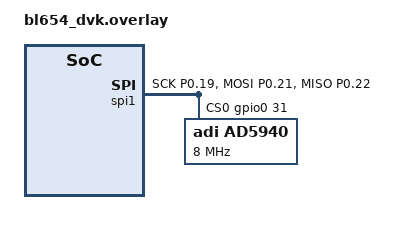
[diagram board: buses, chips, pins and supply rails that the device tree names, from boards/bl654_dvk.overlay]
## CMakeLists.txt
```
# SPDX-License-Identifier: Apache-2.0

cmake_minimum_required(VERSION 3.20.0)
find_package(Zephyr REQUIRED HINTS $ENV{ZEPHYR_BASE})
project(amperometric_polling_BL654)

target_sources(app PRIVATE src/ad5940_lib/ad5940.c)
target_sources(app PRIVATE src/BL654Port.c)
target_sources(app PRIVATE src/main.c)
target_sources(app PRIVATE src/Amperometric.c)
```

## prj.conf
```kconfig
CONFIG_GPIO=y
CONFIG_SPI=y

CONFIG_BT=y
CONFIG_BT_DEBUG_LOG=y
CONFIG_BT_SMP=y
CONFIG_BT_SIGNING=y
CONFIG_BT_PERIPHERAL=y
CONFIG_BT_DIS=y
CONFIG_BT_ATT_PREPARE_COUNT=5
CONFIG_BT_BAS=y
CONFIG_BT_HRS=y
CONFIG_BT_IAS=y
CONFIG_BT_PRIVACY=y
CONFIG_BT_DEVICE_NAME="Zephyr Peripheral Sample Long Name"
CONFIG_BT_DEVICE_APPEARANCE=833
CONFIG_BT_DEVICE_NAME_DYNAMIC=y
CONFIG_BT_DEVICE_NAME_MAX=65

CONFIG_BT_KEYS_OVERWRITE_OLDEST=y
CONFIG_BT_SETTINGS=y
CONFIG_FLASH=y
CONFIG_FLASH_PAGE_LAYOUT=y
CONFIG_FLASH_MAP=y
CONFIG_NVS=y
CONFIG_SETTINGS=y
```

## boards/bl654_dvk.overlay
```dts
&i2c0 
{
	compatible = "nordic,nrf-twi";
	status = "disabled";
	pinctrl-0 = <&i2c0_default>;
	pinctrl-1 = <&i2c0_sleep>;
	pinctrl-names = "default", "sleep";
	dac0: mcp4725@60 {
		/* MCP4725 not populated at factory */
		compatible = "microchip,mcp4725";
		reg = <0x60>;
		#io-channel-cells = <1>;
		status = "disabled";
	};
};

&spi0 
{
	compatible = "nordic,nrf-spi";
	/* Cannot be used together with i2c0. */
	status = "disabled";
	cs-gpios = <&gpio1 12 GPIO_ACTIVE_LOW>;
	pinctrl-0 = <&spi0_default>;
	pinctrl-1 = <&spi0_sleep>;
	pinctrl-names = "default", "sleep";
};

/* 
&spi1 {
	compatible = "nordic,nrf-spi";
	status = "disabled";
	cs-gpios = <&gpio0 17 GPIO_ACTIVE_LOW>;
	pinctrl-0 = <&spi1_default>;
	pinctrl-1 = <&spi1_sleep>;
	pinctrl-names = "default", "sleep";
	mx25r6435f@0 {
		compatible = "jedec,spi-nor";
		reg = <0>;
		spi-max-frequency = <80000000>;
		jedec-id = [c2 28 17];
		size = <67108864>;
		wp-gpios = <&gpio0 22 0>;
		hold-gpios = <&gpio0 23 0>;
	};
};
*/

&spi1
{
   /delete-node/ mx25r6435f@0;

   status = "okay";
   cs-gpios = <&gpio0 31 GPIO_ACTIVE_HIGH>;
   pinctrl-0 = <&spi1_default>;
   pinctrl-1 = <&spi1_sleep>;
   pinctrl-names = "default", "sleep";
   ad5940: ad5940@0 
   {
		compatible = "adi,ad5940";
		reg = <0>;
		spi-max-frequency = <8000000>;
		label = "ad5940";
	};
 };

&pinctrl {
	spi1_default: spi1_default {
			group1 {
					psels = <NRF_PSEL(SPIM_SCK, 0, 19)>,
							<NRF_PSEL(SPIM_MOSI, 0, 21)>,
							<NRF_PSEL(SPIM_MISO, 0, 22)>;
			};
	};
	spi1_sleep: spi1_sleep {
			group1 {
					psels = <NRF_PSEL(SPIM_SCK, 0, 19)>,
							<NRF_PSEL(SPIM_MOSI, 0, 21)>,
							<NRF_PSEL(SPIM_MISO, 0, 22)>;
					low-power-enable;
			};
	};
};
```

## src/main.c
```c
#include <stdio.h>
#include <drivers/gpio.h>
#include <drivers/spi.h>
#include "ad5940_lib/ad5940.h"

#include <zephyr/types.h>
#include <stddef.h>
#include <string.h>
#include <errno.h>
#include <zephyr/sys/printk.h>
#include <zephyr/sys/byteorder.h>
#include <zephyr/zephyr.h>
#include "Amperometric.h"
#include <zephyr/settings/settings.h>

#define APPBUFF_SIZE 100
uint32_t AppBuff[APPBUFF_SIZE];
float LFOSCFreq;

// define device tree node for the "led0" alias
#define LED0_NODE DT_ALIAS(led0)

// create struct of the led properties 
static const struct gpio_dt_spec led = GPIO_DT_SPEC_GET(LED0_NODE, gpios);

#define ADCPGA_GAIN_SEL ADCPGA_1P5      // constant value = 1 (AD5941 PGA for ADC is 1.5)

// PGA Calibration function  
static void AD5940_PGA_Calibration(void)
{
  AD5940Err err;
  ADCPGACal_Type pgacal;
  pgacal.AdcClkFreq = 16e6;
  pgacal.ADCSinc2Osr = ADCSINC2OSR_178;
  pgacal.ADCSinc3Osr = ADCSINC3OSR_4;
  pgacal.SysClkFreq = 16e6;
  pgacal.TimeOut10us = 1000;
  pgacal.VRef1p11 = 1.11f;
  pgacal.VRef1p82 = 1.82f;
  pgacal.PGACalType = PGACALTYPE_OFFSETGAIN;
  pgacal.ADCPga = ADCPGA_GAIN_SEL;
  err = AD5940_ADCPGACal(&pgacal);
  if(err != AD5940ERR_OK)
  {
    printf("AD5940 PGA calibration failed.\n\r");
  }
  else 
  {
    printf("AD5940 PGA calibration Success.\n\r");
  }
}//end function 

///////////////////////////////////////////////// Basic AD5940 configuration
static int32_t AD5940PlatformCfg(void)
{
    CLKCfg_Type clk_cfg;
    FIFOCfg_Type fifo_cfg;
    AGPIOCfg_Type gpio_cfg;

    // SEQCfg_Type seq_cfg;

    LFOSCMeasure_Type LfoscMeasure;

    // Apply hardware reset
    AD5940_HWReset();

    // Apply platform configuration sequence
    AD5940_Initialize();

    ////////////////////////////////////// Step1. Configure the clock
    clk_cfg.HFOSCEn = bTRUE;
    clk_cfg.HFXTALEn = bFALSE;
    clk_cfg.LFOSCEn = bTRUE;
    clk_cfg.HfOSC32MHzMode = bFALSE;
    clk_cfg.SysClkSrc = SYSCLKSRC_HFOSC;
    clk_cfg.SysClkDiv = SYSCLKDIV_1;
    clk_cfg.ADCCLkSrc = ADCCLKSRC_HFOSC;
    clk_cfg.ADCClkDiv = ADCCLKDIV_1;
    AD5940_CLKCfg(&clk_cfg);

    /////////////////////////////////////// Step2. Configure FIFO and Sequencer
    fifo_cfg.FIFOEn = bFALSE;
    fifo_cfg.FIFOMode = FIFOMODE_FIFO;
    fifo_cfg.FIFOSize = FIFOSIZE_4KB;       // 4kB for FIFO, The rest 2kB for sequencer
    fifo_cfg.FIFOSrc = FIFOSRC_DFT;
    fifo_cfg.FIFOThresh = 4;
    AD5940_FIFOCfg(&fifo_cfg);              // Disable to reset FIFO
    fifo_cfg.FIFOEn = bTRUE;
    AD5940_FIFOCfg(&fifo_cfg);

    ////////////////////////////////////////// Configure the sequencer and stop it
    /*
    seq_cfg.SeqMemSize = SEQMEMSIZE_2KB;
    seq_cfg.SeqBreakEn = bFALSE;
    seq_cfg.SeqIgnoreEn = bFALSE;
    seq_cfg.SeqCntCRCClr = bTRUE;
    seq_cfg.SeqEnable = bFALSE;
    seq_cfg.SeqWrTimer = 0;
    AD5940_SEQCfg(&seq_cfg);
    */

    /////////////////////////////////////////// Step3. Interrupt controller
    AD5940_INTCCfg(AFEINTC_1, AFEINTSRC_ALLINT, bTRUE);           /* Enable all interrupt in Interrupt Controller 1, so we can check INTC flags */
    AD5940_INTCCfg(AFEINTC_0, AFEINTSRC_DATAFIFOTHRESH, bTRUE);   /* Interrupt Controller 0 will control GP0 to generate interrupt to MCU */
    AD5940_INTCClrFlag(AFEINTSRC_ALLINT);

    /////////////////////////////////////////// Step4: Reconfigure GPIO
    gpio_cfg.FuncSet = GP6_SYNC|GP5_SYNC|GP4_SYNC|GP2_SYNC|GP1_SLEEP|GP0_INT;
    gpio_cfg.InputEnSet = 0;
    gpio_cfg.OutputEnSet = AGPIO_Pin0|AGPIO_Pin1|AGPIO_Pin4|AGPIO_Pin5|AGPIO_Pin6|AGPIO_Pin2;
    gpio_cfg.OutVal = 0;
    gpio_cfg.PullEnSet = 0;
    AD5940_AGPIOCfg(&gpio_cfg);

    // AD5940_SleepKeyCtrlS(SLPKEY_UNLOCK);          // Allow AFE to enter sleep mode

    /* Measure LFOSC frequency */
    LfoscMeasure.CalDuration = 1000.0;            // 1000 ms used for calibration
    LfoscMeasure.CalSeqAddr = 0;
    LfoscMeasure.SystemClkFreq = 16000000.0f;     // 16 MHz in this firmware
    AD5940_LFOSCMeasure(&LfoscMeasure, &LFOSCFreq);

    return 0;
}//end

//Change the application parameters here if you want to change it to a non-default value
void AD5940AMPStructInit(void)
{
  AppAMPCfg_Type *pAMPCfg;
  AppAMPGetCfg(&pAMPCfg);
  pAMPCfg->WuptClkFreq = LFOSCFreq;

  // Configure general parameters
  pAMPCfg->SeqStartAddr = 0;
  pAMPCfg->MaxSeqLen = 100;                // @todo add checker in function

  pAMPCfg->RcalVal = 200.0;
  // pAMPCfg->NumOfData = -1;                  // Never stop until you stop it manually by AppAMPCtrl() function
  pAMPCfg->NumOfData = 1;                  // Never stop until you stop it manually by AppAMPCtrl() function

  //Configure the measurement parameters
  pAMPCfg->AmpODR = 1;                      // set the time between samples in seconds

  pAMPCfg->FifoThresh = 1;                  // the number of measurements aquired before alerting the host MCU

  pAMPCfg->SensorBias = 200;                // Sensor bias voltage between reference and sense electrodes

  pAMPCfg->LptiaRtiaSel = LPTIARTIA_1K;

  pAMPCfg->LpTiaRl = LPTIARLOAD_10R;

  pAMPCfg->Vzero = 1100;                    // Vzero voltage. The voltage on the sense electrode. Unit is mV

  pAMPCfg->ADCRefVolt = 1.82;               // Measure the voltage on the Vref_1V8 pin (1.82 V)

}//end function

// 1000 msec = 1 sec (used to control the LED blinking frequency)
#define SLEEP_TIME_MS   1000

///////////////////////////////////////////////////////// display the result in UART
int32_t AMPShowResult(float *pData, uint32_t DataCount)
{
    float x = pData[0];

    // float bias_current = 39.5;
    // x = x - bias_current;

    // process the measured differential voltage 
    int x_int = (int) x;		// integer part 
    int x_frac = (int) ((x - x_int) * 10000);
	// print to serial terminal 
	// printf ("Int = %d, Decimal = %d \n\r", diff_volt_int, diff_volt_dec_int);
    printf("Current: %d.%04d uA\n\r", x_int, x_frac);

    return 0;
}//end

////////////////////////////////////////////////// MAIN ////////////////////////////////////// 
void main(void)
{
    // define return variable 
	int ret;

    // check if led device is ready 
	if (!device_is_ready(led.port)) { return; }

    // set the led to active-high output 
	ret = gpio_pin_configure_dt(&led, GPIO_OUTPUT_ACTIVE);
	if (ret < 0) { return; }

    // toggle the led 5 times before starting the program 
	int led_counter = 0;	
    while (led_counter < 5) 
	{ 
		gpio_pin_toggle_dt(&led);
		k_msleep(SLEEP_TIME_MS);
		led_counter = led_counter + 1;
	}//end while

      // setup the MCU resources for connecting with AD5940
    AD5940_MCUResourceInit(0);
    AD5940_Delay10us(50000);        // delay 500 m

    // call platform configuration
    AD5940PlatformCfg();
    AD5940_Delay10us(50000);    // delay 500 m

    AD5940AMPStructInit();      // Configure your parameters in this function
    AD5940_Delay10us(50000);    // delay 500 m

    // setup AMP application (provide a buffer, which is used to store sequencer commands)
    AppAMPInit(AppBuff, APPBUFF_SIZE);
    AD5940_Delay10us(50000);    // delay 500 m

    // control AMP measurement to start (s)
    // AppAMPCtrl(AMPCTRL_START, 0);
    // AD5940_Delay10us(50000);    // delay 500 m

    for (;;)
    {
        // start the sequencer
        AD5940_SEQMmrTrig(SEQID_0);
        AD5940_Delay10us(50000);    // delay 500 m

        while (1)
        {
            // poll the INTCFLAG register to wait for Data FIFO threshold interrupt.
            if(AD5940_INTCTestFlag(AFEINTC_0, AFEINTSRC_DATAFIFOTHRESH) == bTRUE)
            {
                break;
            }
            else
            {
                // do nothing
                AD5940_Delay10us(100000);    // delay 1 second
            }
        }//end while

        printf("Data found: \n\r");

        /// display data
        uint32_t temp = APPBUFF_SIZE;
        AppAMPISR(AppBuff, &temp);
        AMPShowResult((float*)AppBuff, temp);

    } //end for

    /*

    // setup the MCU resources for connecting to AD5940 (initializae the MCU - defined in BL654Port.c) 
    AD5940_MCUResourceInit(0);

	// ADC measurement of AD5940/41
    ADCBaseCfg_Type adc_base;
    ADCFilterCfg_Type adc_filter;
  
    // Use hardware reset (RESET pin is set and reset)
    AD5940_HWReset();

    // initialize the AD5941 device by writing to its registers
    AD5940_Initialize();
  
	// PGA calibration function 
    AD5940_PGA_Calibration();
	
    // configure AFE power mode and bandwidth
    AD5940_AFEPwrBW(AFEPWR_LP, AFEBW_250KHZ);
  
    // initialize the ADC basic function (measurement is done based on DAC 1.82 V reference)
    AD5940_AFECtrlS(AFECTRL_DACREFPWR|AFECTRL_HSDACPWR, bTRUE); 

	// set the differential inputs for the ADC 
	adc_base.ADCMuxP = ADCMUXP_VREF1P8DAC; 		    // 1.8 V
    // adc_base.ADCMuxP = ADCMUXP_VREF2P5;          // positive input set to 1.25 V
    adc_base.ADCMuxN = ADCMUXN_VSET1P1;    			// negative input set to 1.1 V
	// select the programmable gain defined  
    adc_base.ADCPga = ADCPGA_GAIN_SEL;
    AD5940_ADCBaseCfgS(&adc_base);
  
    // Initialize the ADC filters ADCRawData-->SINC3-->SINC2+NOTCH
    adc_filter.ADCSinc3Osr = ADCSINC3OSR_4;
    adc_filter.ADCSinc2Osr = ADCSINC2OSR_1333;
    adc_filter.ADCAvgNum = ADCAVGNUM_2;         // Don't care about it. Average function is only used for DFT 
    adc_filter.ADCRate = ADCRATE_800KHZ;        // If ADC clock is 32MHz, then set it to ADCRATE_1P6MHZ. Default is 16MHz, use ADCRATE_800KHZ. 
    adc_filter.BpNotch = bTRUE;                 // SINC2+Notch is one block, when bypass notch filter, we can get fresh data from SINC2 filter. 
    adc_filter.BpSinc3 = bFALSE;                // We use SINC3 filter.   
    adc_filter.Sinc2NotchEnable = bTRUE;        // Enable the SINC2+Notch block. You can also use function AD5940_AFECtrlS 
    AD5940_ADCFilterCfgS(&adc_filter);

    //AD5940_ADCMuxCfgS(ADCMUXP_AIN2, ADCMUXN_VSET1P1);   // Optionally, you can change ADC MUX with this function 
    
    // Enable all interrupt at Interrupt Controller 1. So we can check the interrupt flag
    AD5940_INTCCfg(AFEINTC_1, AFEINTSRC_ALLINT, bTRUE);
    
    //AD5940_AFECtrlS(AFECTRL_ADCPWR|AFECTRL_SINC2NOTCH, bTRUE);
    //AD5940_AFECtrlS(AFECTRL_ADCCNV, bTRUE);
    AD5940_ADCPowerCtrlS(bTRUE);
    AD5940_ADCConvtCtrlS(bTRUE);

	// keep reading ADC value and send to the mobile app via BLE protocol 
    while(1)
    {
        uint32_t rd;

        if(AD5940_INTCTestFlag(AFEINTC_1,AFEINTSRC_SINC2RDY))  
        {
            static uint32_t count;
            AD5940_INTCClrFlag(AFEINTSRC_SINC2RDY);
            rd = AD5940_ReadAfeResult(AFERESULT_SINC2);
            count ++;

            // ADC Sample rate is 800kSPS. SINC3 OSR is 4, SINC2 OSR is 1333.
            // So the final output data rate is 800 kSPS/4/1333 = 150.0375 Hz
            if(count == 150) // Print the data @0.5Hz
            {
                count = 0;
                float diff_volt = AD5940_ADCCode2Volt(rd, ADCPGA_GAIN_SEL, 1.82);

				// process the measured differential voltage 
                int diff_volt_int = (int) diff_volt;		// integer part 
                int diff_volt_frac = (int) ((diff_volt - diff_volt_int) * 10000);
				// print to serial terminal 
				// printf ("Int = %d, Decimal = %d \n\r", diff_volt_int, diff_volt_dec_int);
                printf("Differential Voltage: %d.%04d V\n\r", diff_volt_int, diff_volt_frac);
            }//end if

        }//end if

    }//end while

    */

}//end main
```

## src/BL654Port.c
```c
#include <stdio.h>
#include <zephyr/zephyr.h>
#include <drivers/gpio.h>
#include <drivers/spi.h>

////////////////// This code is required to allow the BL654 module to use the AD5940 library  

/* The devicetree node identifier for using the GPIO pins */
#define GPIO_NODE DT_NODELABEL(gpio0)
#define SPI_NODE DT_NODELABEL(spi1)

#define RESET_PIN 30
#define CS_PIN 31

// define the GPIO device 
const struct device *const gpio_dev = DEVICE_DT_GET(GPIO_NODE);
// define the SPI device 
const struct device *const spi_dev = DEVICE_DT_GET(SPI_NODE);

// define the return value 
int ret = 0;

// interrupt indicator flag (interrupt occurred if ucInterrupted == 1)
volatile static uint8_t ucInterrupted = 0;

/////////////////////////////////////////// delay function: resulting delay (uS) = input (uint32_t) x 10 us)
void AD5940_Delay10us(uint32_t time)
{
    if (time == 0) time = 1;
    uint32_t time_total_us = time * 10 ; 
    k_usleep(time_total_us);
}//end

/////////////////////////////////////////// return interrupt indicator flag
uint32_t AD5940_GetMCUIntFlag(void)
{
    return ucInterrupted;
}//end

/////////////////////////////////////////// clear interrupt indicator flag
uint32_t AD5940_ClrMCUIntFlag(void)
{
    ucInterrupted = 0;
    return 1;
}//end

/////////////////////////////////////////// clear CS pin of AD5940
void AD5940_CsClr(void)
{
    // clear CS_PIN
    gpio_pin_set(gpio_dev, CS_PIN, 0);
}//end

/////////////////////////////////////////// set CS pin of AD5940
void AD5940_CsSet(void)
{
    // set CS_PIN
    gpio_pin_set(gpio_dev, CS_PIN, 1);
}//end

/////////////////////////////////////////// clear RESET pin of AD5940
void AD5940_RstClr(void)
{
    // clear RESET_PIN
    gpio_pin_set(gpio_dev, RESET_PIN, 0);
}//end

/////////////////////////////////////////// set RESET pin of AD5940
void AD5940_RstSet(void)
{
     // set RESET_PIN
    gpio_pin_set(gpio_dev, RESET_PIN, 1);
}//end

/////////////////////////////////////////////////////////////// spi configuration 
static const struct spi_config spi_cfg = 
{ 
    // SPI_OP_MODE_MASTER 
    // SPI_WORD_SET(_word_size_) = 8 bits 
    // Clock Polarity: set low (default): SPI_MODE_CPOL
    // Clock Phase: set high
    // First bit: MSB
	.operation = SPI_WORD_SET(8) | SPI_TRANSFER_MSB | SPI_OP_MODE_MASTER,
	.frequency = 8000000,
};

/////////////////////////////////////////// setup function: MCU peripherals (GPIO pins, SPI, interrupt)
uint32_t AD5940_MCUResourceInit(void *pCfg)
{
    // set the AD5941 CS pin and the RESET pin to outputs

    // SIO_31 connected to CS pin   
    ret = gpio_pin_configure(gpio_dev, CS_PIN, GPIO_OUTPUT);
    if (ret < 0) { 	printf("error A ... \n\r") ; }

    // SIO_30 connected to RESET pin   
    ret = gpio_pin_configure(gpio_dev, RESET_PIN, GPIO_OUTPUT);
    if (ret < 0) { 	printf("error B ... \n\r") ; }

    if(!device_is_ready(spi_dev)) 
    {
		printf("SPI master device is not ready!\n");
	}

    // activate the SPI functionality on the designated pins

    /* 
     * SPI configuration based on AD5940 requirements:
     *  data size = 8 bits
     *  CLK polarity = LOW (inactive is low CLK)
     *  CLK phase = HIGH (data is captured on the first UCLK edge and changed on the following edge)
     *  master mode = enabled
     *  SYNC mode = enabled
     *  first bit = Most Significant Bit
     *  SPI clock = SMCLK 8 MHz (should be less than 16 MHz)
     *  pre-scalar setting (0x20 = 32, F(BitClock) = F(BRCLK) / 32)
     */
    
    // enable external interrupt on pin

    return 0;
}//end

//////////////////////////////////////// Read and Write function 
void AD5940_ReadWriteNBytes(unsigned char *pSendBuffer, unsigned char *pRecvBuff, unsigned long length)
{
	const struct spi_buf tx_buf = 
    {
		.buf = pSendBuffer,
		.len = length
	};
	const struct spi_buf_set tx = 
    {
		.buffers = &tx_buf,
		.count = 1
	};

	struct spi_buf rx_buf = 
    {
		.buf = pRecvBuff,
		.len = length,
	};
	const struct spi_buf_set rx = 
    {
		.buffers = &rx_buf,
		.count = 1
	};

	// Start transaction
	int error = spi_transceive(spi_dev, &spi_cfg, &tx, &rx);
	if(error != 0)
    {
		printf("SPI transceive error \n");
	}

 }//end 
```
